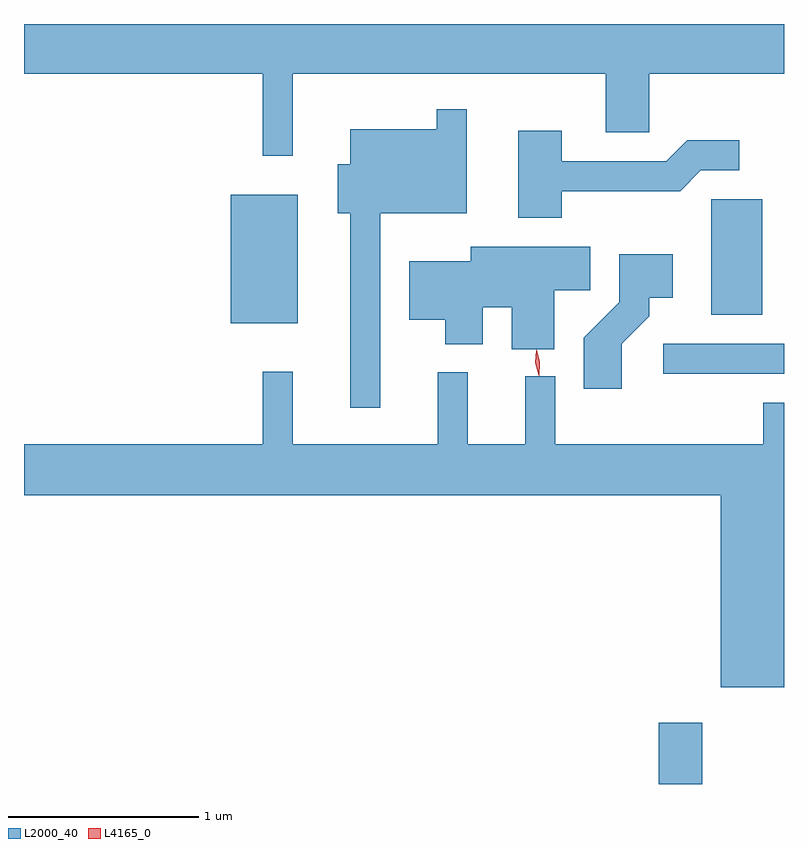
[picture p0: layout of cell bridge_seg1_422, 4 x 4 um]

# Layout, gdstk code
import gdstk
lib = gdstk.Library(unit=1e-6, precision=1e-09)
def R(c, l, rs):  # rectangles x0, y0, x1, y1
    for r in rs: c.add(gdstk.rectangle(r[:2], r[2:], *l))
def P(c, l, *ps):  # polygons
    for p in ps: c.add(gdstk.Polygon(p, *l))
L2000_40 = (2000, 40)
L4165_0 = (4165, 0)

bridge_seg1_422 = lib.new_cell('bridge_seg1_422')
R(bridge_seg1_422, L2000_40, [(352.961,858.097,353.189,858.419), (352.983,860.256,353.619,860.414), (350.706,860.521,351.059,861.199), (353.236,860.566,353.504,861.174)])
P(bridge_seg1_422, L2000_40, [(349.619,861.836),(350.876,861.836),(350.876,861.403),(351.034,861.403),(351.034,861.836),(352.681,861.836),(352.681,861.526),(352.909,861.526),(352.909,861.836),(353.619,861.836),(353.619,862.097),(349.619,862.097)],
  [(351.494,861.101),(351.949,861.101),(351.949,861.648),(351.791,861.648),(351.791,861.544),(351.336,861.544),(351.336,861.359),(351.271,861.359),(351.271,861.101),(351.336,861.101),(351.336,860.078),(351.494,860.078)],
  [(352.449,861.216),(353.072,861.216),(353.182,861.326),(353.383,861.326),(353.383,861.484),(353.109,861.484),(352.999,861.374),(352.449,861.374),(352.449,861.534),(352.221,861.534),(352.221,861.076),(352.449,861.076)],
  [(352.409,860.696),(352.599,860.696),(352.599,860.924),(351.971,860.924),(351.971,860.849),(351.646,860.849),(351.646,860.541),(351.836,860.541),(351.836,860.411),(352.034,860.411),(352.034,860.606),(352.186,860.606),(352.186,860.386),(352.409,860.386)],
  [(352.764,860.414),(352.909,860.559),(352.909,860.656),(353.034,860.656),(353.034,860.884),(352.751,860.884),(352.751,860.632),(352.566,860.447),(352.566,860.176),(352.764,860.176)],
  [(353.619,860.104),(353.511,860.104),(353.511,859.884),(352.414,859.884),(352.414,860.243),(352.256,860.243),(352.256,859.884),(351.954,859.884),(351.954,860.263),(351.796,860.263),(351.796,859.884),(351.034,859.884),(351.034,860.268),(350.876,860.268),(350.876,859.884),(349.619,859.884),(349.619,859.616),(353.286,859.616),(353.286,858.606),(353.619,858.606)])
P(bridge_seg1_422, L4165_0, [(352.327,860.248),(352.327,860.249),(352.311,860.314),(352.314,860.38),(352.314,860.381),(352.315,860.38),(352.331,860.316),(352.328,860.249)],
  [(352.331,860.245),(352.33,860.246),(352.314,860.313),(352.317,860.383),(352.317,860.383),(352.318,860.383),(352.334,860.316),(352.331,860.246)])

lib.write_gds('bridge_seg1_422.gds')
